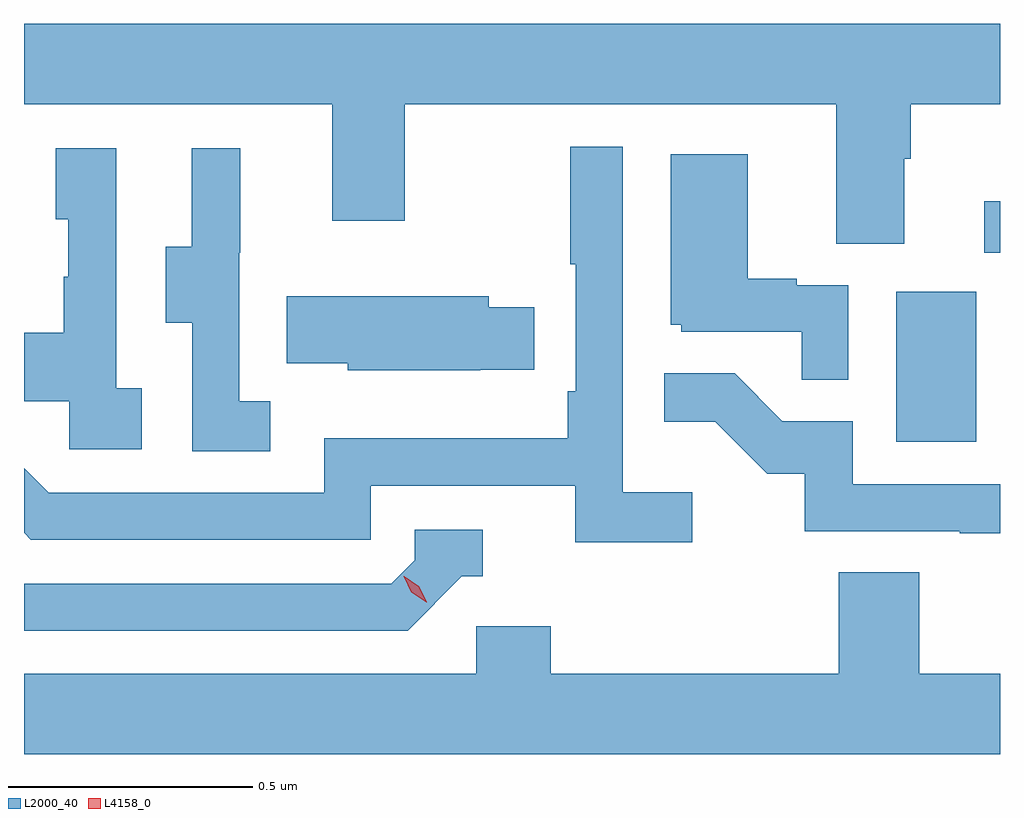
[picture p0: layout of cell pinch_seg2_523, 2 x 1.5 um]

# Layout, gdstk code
import gdstk
lib = gdstk.Library(unit=1e-6, precision=1e-09)
def R(c, l, rs):  # rectangles x0, y0, x1, y1
    for r in rs: c.add(gdstk.rectangle(r[:2], r[2:], *l))
def P(c, l, *ps):  # polygons
    for p in ps: c.add(gdstk.Polygon(p, *l))
L2000_40 = (2000, 40)
L4158_0 = (4158, 0)

pinch_seg2_523 = lib.new_cell('pinch_seg2_523')
R(pinch_seg2_523, L2000_40, [(994.31,587.004,994.474,587.311), (994.491,587.391,994.523,587.497)])
P(pinch_seg2_523, L2000_40, [(994.327,587.584),(994.34,587.584),(994.34,587.696),(994.523,587.696),(994.523,587.86),(992.523,587.86),(992.523,587.696),(993.155,587.696),(993.155,587.457),(993.303,587.457),(993.303,587.696),(994.187,587.696),(994.187,587.41),(994.327,587.41)],
  [(993.892,586.9),(993.75,586.9),(993.75,587.608),(993.642,587.608),(993.642,587.368),(993.654,587.368),(993.654,587.107),(993.637,587.107),(993.637,587.011),(993.138,587.011),(993.138,586.899),(992.574,586.899),(992.523,586.95),(992.523,586.817),(992.537,586.803),(993.234,586.803),(993.234,586.914),(993.653,586.914),(993.653,586.798),(993.892,586.798)],
  [(993.028,587.087),(992.964,587.087),(992.964,587.391),(992.966,587.391),(992.966,587.605),(992.867,587.605),(992.867,587.403),(992.813,587.403),(992.813,587.248),(992.868,587.248),(992.868,586.984),(993.028,586.984)],
  [(992.764,587.114),(992.712,587.114),(992.712,587.605),(992.588,587.605),(992.588,587.46),(992.614,587.46),(992.614,587.342),(992.604,587.342),(992.604,587.227),(992.523,587.227),(992.523,587.087),(992.616,587.087),(992.616,586.989),(992.764,586.989)],
  [(994.212,587.325),(994.106,587.325),(994.106,587.338),(994.006,587.338),(994.006,587.593),(993.848,587.593),(993.848,587.244),(993.87,587.244),(993.87,587.229),(994.117,587.229),(994.117,587.131),(994.212,587.131)],
  [(993.458,587.151),(993.569,587.151),(993.569,587.28),(993.475,587.28),(993.475,587.302),(993.061,587.302),(993.061,587.165),(993.186,587.165),(993.186,587.15),(993.458,587.15)],
  [(994.523,586.917),(994.221,586.917),(994.221,587.046),(994.077,587.046),(993.979,587.144),(993.835,587.144),(993.835,587.045),(993.939,587.045),(994.046,586.938),(994.123,586.938),(994.123,586.821),(994.441,586.821),(994.441,586.816),(994.523,586.816)],
  [(993.42,586.728),(993.463,586.728),(993.463,586.824),(993.324,586.824),(993.324,586.761),(993.276,586.713),(992.523,586.713),(992.523,586.617),(993.309,586.617)],
  [(994.523,586.528),(994.358,586.528),(994.358,586.736),(994.193,586.736),(994.193,586.528),(993.602,586.528),(993.602,586.626),(993.45,586.626),(993.45,586.528),(992.523,586.528),(992.523,586.364),(994.523,586.364)])
P(pinch_seg2_523, L4158_0, [(993.347,586.675),(993.317,586.695),(993.301,586.728),(993.301,586.728),(993.302,586.728),(993.332,586.708),(993.348,586.676),(993.348,586.675)])

lib.write_gds('pinch_seg2_523.gds')
